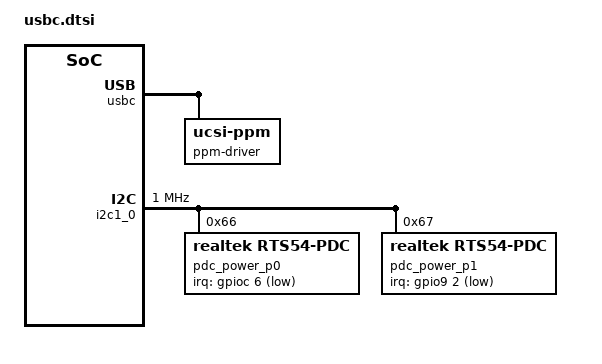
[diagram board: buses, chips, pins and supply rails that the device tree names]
/* Copyright 2025 The ChromiumOS Authors
 * Use of this source code is governed by a BSD-style license that can be
 * found in the LICENSE file.
 */

#include <usbc-policy.dtsi>

 /{
	usbc {
		#address-cells = <1>;
		#size-cells = <0>;
		usbc_port0: port0@0 {
			compatible = "named-usbc-port";
			reg = <0>;
			chg = <&charger>;
			pdc = <&pdc_power_p0>;
			pd-retimer;
			policy = <&cros_policy>;
		};
		usbc_port1: port1@1 {
			compatible = "named-usbc-port";
			reg = <1>;
			pdc = <&pdc_power_p1>;
			pd-retimer;
			policy = <&cros_policy>;
		};
		ppm-driver {
			compatible = "ucsi-ppm";
		};
	};
};

&i2c1_0 {
	label = "I2C_PORT_PD";
	clock-frequency = <I2C_BITRATE_FAST_PLUS>;

	pdc_power_p0: rts54-pdc@66 {
		compatible = "realtek,rts54-pdc";
		reg = <0x66>;
		irq-gpios = <&gpioc 6 GPIO_ACTIVE_LOW>;
		ccd;
	};
	pdc_power_p1: rts54-pdc@67 {
		compatible = "realtek,rts54-pdc";
		reg = <0x67>;
		irq-gpios = <&gpio9 2 GPIO_ACTIVE_LOW>;
	};
};
